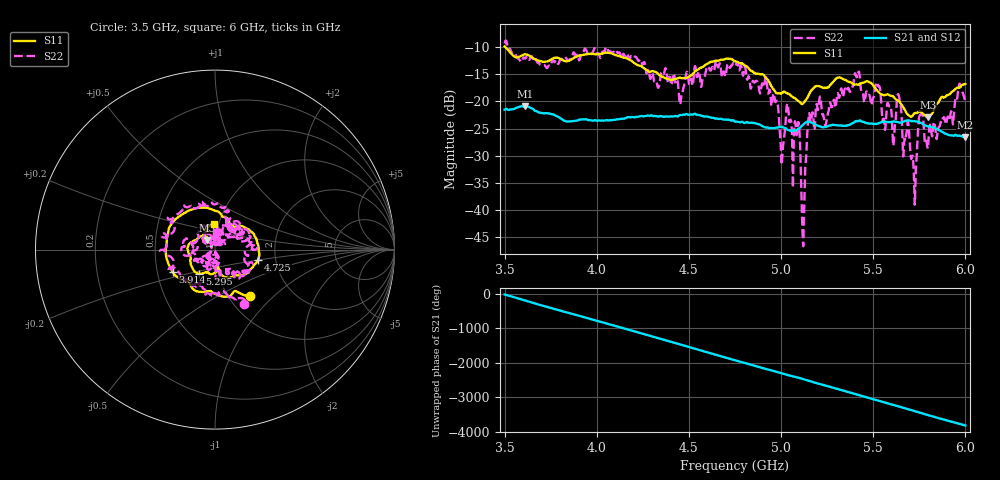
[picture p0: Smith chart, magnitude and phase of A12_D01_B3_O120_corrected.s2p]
! Created with skrf 1.9.0 (http://scikit-rf.org).
# Hz S RI R 50.0
!freq ReS11 ImS11 ReS21 ImS21 ReS12 ImS12 ReS22 ImS22
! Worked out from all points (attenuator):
!   1601 points, 3.5 GHz to 6 GHz, reference 50 ohm
!   highest |S21| = -20.86 dB at 3.611 GHz (marker M1); lowest = -26.6 dB at 6 GHz (marker M2)
!   lowest |S11| = -23.0 dB at 5.795 GHz (marker M3), VSWR 1.15, Z = 45.4 + j4.95 ohm
!   |S11| at or under -10 dB: 3.505 GHz to end of sweep
!   |S22| runs from -46.7 to -8.7 dB; largest |S21 - S12| = 0.0013
!   S11 on the Smith chart (normalised r, x): 3.5 GHz: 1.25, -0.72; 3.914 GHz: 0.60, -0.16; 4.725 GHz: 1.62, -0.20; 5.295 GHz: 0.81, -0.22; 6 GHz: 0.95, +0.28
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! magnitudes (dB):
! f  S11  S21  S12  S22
! 3.5 GHz  -9.9  -21.5  -21.5  -9.3
! 3.611 GHz  -11.3  -20.9  -20.9  -12.1
! 3.914 GHz  -11.5  -23.3  -23.3  -11.5
! 3.917 GHz  -11.5  -23.3  -23.3  -11.3
! 4.334 GHz  -14.9  -22.8  -22.8  -17.5
! 4.725 GHz  -12.2  -23.5  -23.4  -13.7
! 4.75 GHz  -12.6  -23.7  -23.7  -13.4
! 4.969 GHz  -18.2  -24.9  -24.9  -20.1
! 5.005 GHz  -18.4  -24.7  -24.7  -31.2
! 5.036 GHz  -18.5  -25.3  -25.2  -20.5
! 5.088 GHz  -19.8  -25.2  -25.2  -25.4
! 5.119 GHz  -20.4  -24.3  -24.2  -46.0
! 5.145 GHz  -19.2  -23.7  -23.7  -24.3
! 5.167 GHz  -17.8  -23.9  -23.9  -22.4
! 5.295 GHz  -15.9  -24.4  -24.4  -21.2
! 5.412 GHz  -16.9  -23.6  -23.7  -15.5
! 5.584 GHz  -18.8  -23.8  -23.8  -20.7
! 5.641 GHz  -20.0  -23.9  -23.9  -19.3
! 5.72 GHz  -22.3  -23.7  -23.6  -33.4
! 5.756 GHz  -21.8  -24.0  -23.9  -22.5
! 5.795 GHz  -23.0  -24.6  -24.6  -28.6
! 6 GHz  -16.8  -26.6  -26.6  -20.0
